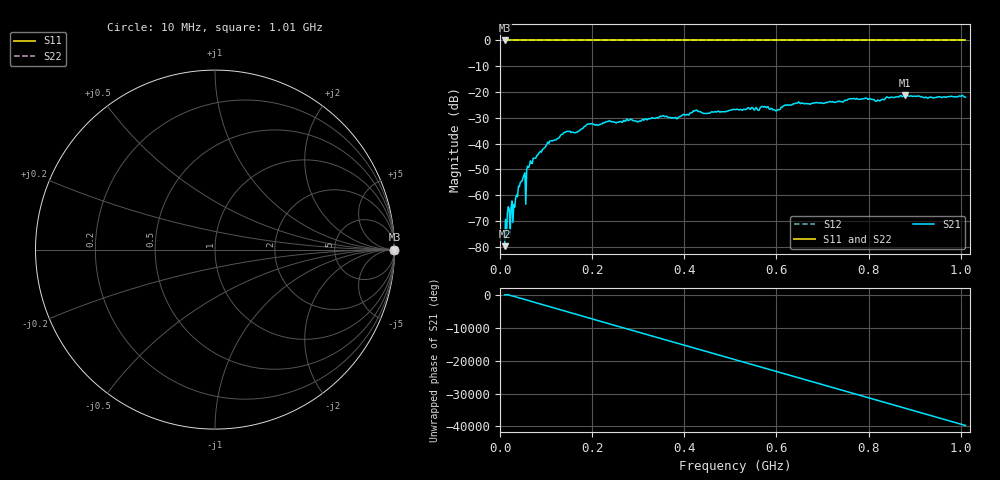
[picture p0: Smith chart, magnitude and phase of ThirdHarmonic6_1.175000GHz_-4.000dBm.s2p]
! 8/16/2025 11:56:11 AM
! C:\ANRITSUVNA\TEMP\TEMP.S2P
! CHANNEL.1
! TR.MEASUREMENT
! RAW.DATA
! RF.CORRECTION.OFF
! AVERAGING.OFF
! IF.BANDWIDTH: 5KHZ
! SWEEPTYPE:  FREQ.SWEEP(Linear)
! Reference Plane Port Info
! PORT:  PORT1  PORT2
! DISTANCE:  0  m  0  m
! TIME:  0  s  0  s
! PHASE.OFFSET:  0  deg.  0  deg.
! LOSS:  0  dB  0  dB
! REF.LOSS:  0  dB  0  dB
! REF.FREQ:  0  Hz  0  Hz
! Power Info
! POWER:  -20  dBm  -20  dBm
! EFF.POWER:  -20  dBm  -20  dBm
! SOURCE.ATTEN:  0  dB  0  dB
! TEST.ATTEN:  0  dB  0  dB
# GHZ S RI R 50.0
! FREQ.GHZ  S11RE  S11IM  S21RE  S21IM  S12RE  S12IM  S22RE  S22IM
!; PortSelection: Port_12
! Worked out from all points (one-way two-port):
!   501 points, 10 MHz to 1.01 GHz, reference 50 ohm
!   highest |S21| = -21.27 dB at 878 MHz (marker M1); lowest = -79.8 dB at 10 MHz (marker M2)
!   lowest |S11| = 0.0 dB at 10 MHz (marker M3)
!   |S11| at or under -10 dB: nowhere
!   |S22| runs from 0.0 to 0.0 dB; largest |S21 - S12| = 1.1
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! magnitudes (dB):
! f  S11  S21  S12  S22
! 10 MHz  0.0  -79.8  0.0  0.0
! 16 MHz  0.0  -66.8  0.0  0.0
! 18 MHz  0.0  -64.5  0.0  0.0
! 22 MHz  0.0  -75.0  0.0  0.0
! 26 MHz  0.0  -62.3  0.0  0.0
! 44 MHz  0.0  -55.1  0.0  0.0
! 52 MHz  0.0  -52.2  0.0  0.0
! 60 MHz  0.0  -48.8  0.0  0.0
! 62 MHz  0.0  -49.3  0.0  0.0
! 106 MHz  0.0  -39.9  0.0  0.0
! 142 MHz  0.0  -35.7  0.0  0.0
! 178 MHz  0.0  -34.3  0.0  0.0
! 194 MHz  0.0  -32.4  0.0  0.0
! 344 MHz  0.0  -30.0  0.0  0.0
! 510 MHz  0.0  -26.8  0.0  0.0
! 572 MHz  0.0  -25.9  0.0  0.0
! 602 MHz  0.0  -26.9  0.0  0.0
! 644 MHz  0.0  -24.3  0.0  0.0
! 678 MHz  0.0  -24.3  0.0  0.0
! 844 MHz  0.0  -22.3  0.0  0.0
! 878 MHz  0.0  -21.3  0.0  0.0
! 1.01 GHz  0.0  -22.0  0.0  0.0
